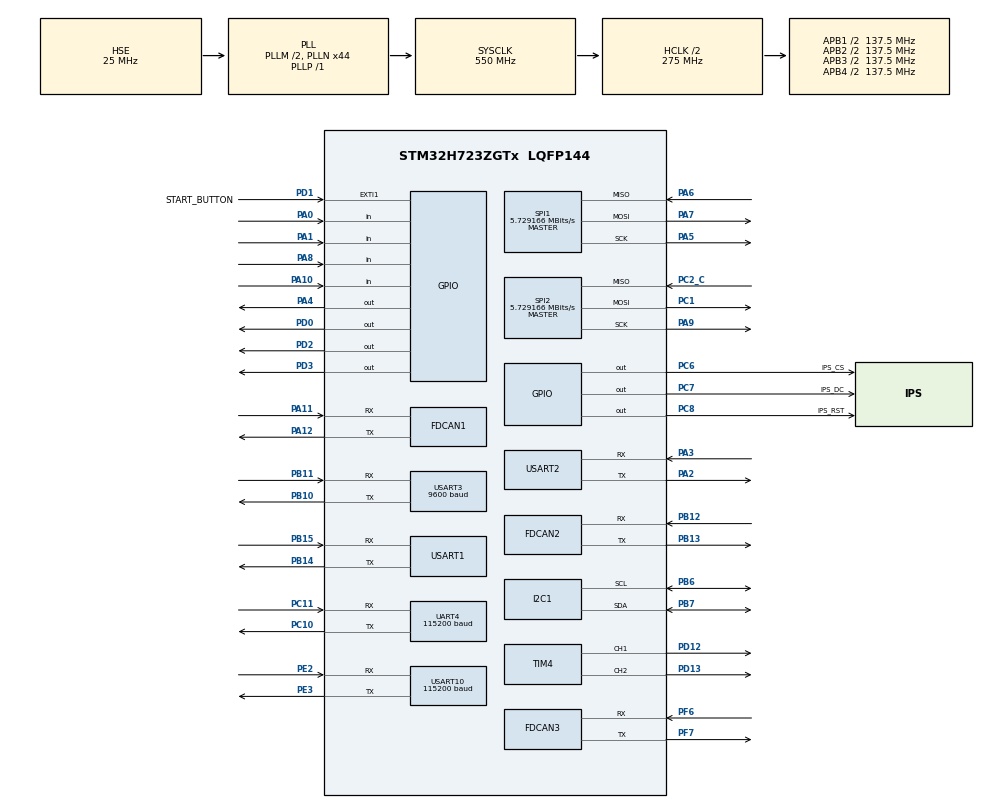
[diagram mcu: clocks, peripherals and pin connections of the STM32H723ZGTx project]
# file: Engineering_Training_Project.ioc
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Dma.Request0=UART4_RX
Dma.Request1=USART1_RX
Dma.Request2=USART2_RX
Dma.Request3=USART10_RX
Dma.Request4=UART4_TX
Dma.UART4_RX.0.Direction=DMA_PERIPH_TO_MEMORY
Dma.UART4_RX.0.EventEnable=DISABLE
Dma.UART4_RX.0.FIFOMode=DMA_FIFOMODE_DISABLE
Dma.UART4_RX.0.Instance=DMA1_Stream0
Dma.UART4_RX.0.MemDataAlignment=DMA_MDATAALIGN_BYTE
Dma.UART4_RX.0.MemInc=DMA_MINC_ENABLE
Dma.UART4_RX.0.Mode=DMA_CIRCULAR
Dma.UART4_RX.0.PeriphDataAlignment=DMA_PDATAALIGN_BYTE
Dma.UART4_RX.0.PeriphInc=DMA_PINC_DISABLE
Dma.UART4_RX.0.Polarity=HAL_DMAMUX_REQ_GEN_RISING
Dma.UART4_RX.0.Priority=DMA_PRIORITY_LOW
Dma.UART4_RX.0.RequestNumber=1
Dma.UART4_RX.0.SignalID=NONE
Dma.UART4_RX.0.SyncEnable=DISABLE
Dma.UART4_RX.0.SyncPolarity=HAL_DMAMUX_SYNC_NO_EVENT
Dma.UART4_RX.0.SyncRequestNumber=1
Dma.UART4_RX.0.SyncSignalID=NONE
Dma.USART10_RX.3.Direction=DMA_PERIPH_TO_MEMORY
Dma.USART10_RX.3.EventEnable=DISABLE
Dma.USART10_RX.3.FIFOMode=DMA_FIFOMODE_DISABLE
Dma.USART10_RX.3.Instance=DMA1_Stream3
Dma.USART10_RX.3.MemDataAlignment=DMA_MDATAALIGN_BYTE
Dma.USART10_RX.3.MemInc=DMA_MINC_ENABLE
Dma.USART10_RX.3.Mode=DMA_CIRCULAR
Dma.USART10_RX.3.PeriphDataAlignment=DMA_PDATAALIGN_BYTE
Dma.USART10_RX.3.PeriphInc=DMA_PINC_DISABLE
Dma.USART10_RX.3.Polarity=HAL_DMAMUX_REQ_GEN_RISING
Dma.USART10_RX.3.Priority=DMA_PRIORITY_MEDIUM
Dma.USART10_RX.3.RequestNumber=1
Dma.USART10_RX.3.SignalID=NONE
Dma.USART10_RX.3.SyncEnable=DISABLE
Dma.USART10_RX.3.SyncPolarity=HAL_DMAMUX_SYNC_NO_EVENT
Dma.USART10_RX.3.SyncRequestNumber=1
Dma.USART10_RX.3.SyncSignalID=NONE
Dma.USART1_RX.1.Direction=DMA_PERIPH_TO_MEMORY
Dma.USART1_RX.1.EventEnable=DISABLE
Dma.USART1_RX.1.FIFOMode=DMA_FIFOMODE_DISABLE
Dma.USART1_RX.1.Instance=DMA1_Stream1
Dma.USART1_RX.1.MemDataAlignment=DMA_MDATAALIGN_BYTE
Dma.USART1_RX.1.MemInc=DMA_MINC_ENABLE
Dma.USART1_RX.1.Mode=DMA_CIRCULAR
Dma.USART1_RX.1.PeriphDataAlignment=DMA_PDATAALIGN_BYTE
Dma.USART1_RX.1.PeriphInc=DMA_PINC_DISABLE
Dma.USART1_RX.1.Polarity=HAL_DMAMUX_REQ_GEN_RISING
Dma.USART1_RX.1.Priority=DMA_PRIORITY_HIGH
Dma.USART1_RX.1.RequestNumber=1
Dma.USART1_RX.1.SignalID=NONE
Dma.USART1_RX.1.SyncEnable=DISABLE
Dma.USART1_RX.1.SyncPolarity=HAL_DMAMUX_SYNC_NO_EVENT
Dma.USART1_RX.1.SyncRequestNumber=1
Dma.USART1_RX.1.SyncSignalID=NONE
Dma.USART2_RX.2.Direction=DMA_PERIPH_TO_MEMORY
Dma.USART2_RX.2.EventEnable=DISABLE
Dma.USART2_RX.2.FIFOMode=DMA_FIFOMODE_DISABLE
Dma.USART2_RX.2.Instance=DMA1_Stream2
Dma.USART2_RX.2.MemDataAlignment=DMA_MDATAALIGN_BYTE
Dma.USART2_RX.2.MemInc=DMA_MINC_ENABLE
Dma.USART2_RX.2.Mode=DMA_CIRCULAR
Dma.USART2_RX.2.PeriphDataAlignment=DMA_PDATAALIGN_BYTE
Dma.USART2_RX.2.PeriphInc=DMA_PINC_DISABLE
Dma.USART2_RX.2.Polarity=HAL_DMAMUX_REQ_GEN_RISING
Dma.USART2_RX.2.Priority=DMA_PRIORITY_HIGH
Dma.USART2_RX.2.RequestNumber=1
Dma.USART2_RX.2.SignalID=NONE
Dma.USART2_RX.2.SyncEnable=DISABLE
Dma.USART2_RX.2.SyncPolarity=HAL_DMAMUX_SYNC_NO_EVENT
Dma.USART2_RX.2.SyncRequestNumber=1
Dma.USART2_RX.2.SyncSignalID=NONE
FDCAN1.DataPrescaler=2
FDCAN1.DataSyncJumpWidth=2
FDCAN1.DataTimeSeg1=11
FDCAN1.DataTimeSeg2=4
FDCAN1.MessageRAMOffset=128
FDCAN1.NominalPrescaler=4
FDCAN1.NominalSyncJumpWidth=2
FDCAN1.NominalTimeSeg1=15
FDCAN1.NominalTimeSeg2=4
FDCAN1.ProtocolException=ENABLE
FDCAN1.RxFifo0ElmtsNbr=8
FDCAN1.StdFiltersNbr=1
FDCAN2.CalculateBaudRateNominal=500000
FDCAN2.CalculateTimeBitNominal=2000
FDCAN2.CalculateTimeQuantumNominal=100.0
FDCAN2.NominalPrescaler=8
FDCAN2.NominalSyncJumpWidth=2
FDCAN2.NominalTimeSeg1=15
FDCAN2.NominalTimeSeg2=4
FDCAN2.RxFifo0ElmtsNbr=16
FDCAN2.TxFifoQueueElmtsNbr=8
FREERTOS.Tasks01=defaultTask,24,512,StartDefaultTask,Default,NULL,Dynamic,NULL,NULL
FREERTOS.configCHECK_FOR_STACK_OVERFLOW=2
FREERTOS.configTOTAL_HEAP_SIZE=131072
I2C1.Timing=0x60404E72
Mcu.Family=STM32H7
Mcu.Name=STM32H723ZGTx
Mcu.Package=LQFP144
NVIC.DMA1_Stream0_IRQn=true\:5\:0\:false\:false\:true\:true\:false\:true\:true
NVIC.DMA1_Stream1_IRQn=true\:5\:0\:false\:false\:true\:true\:false\:true\:true
NVIC.DMA1_Stream2_IRQn=true\:5\:0\:false\:false\:true\:true\:false\:true\:true
NVIC.DMA1_Stream3_IRQn=true\:5\:0\:false\:false\:true\:true\:false\:true\:true
NVIC.EXTI1_IRQn=true\:5\:0\:false\:false\:true\:true\:true\:true\:true
NVIC.FDCAN1_IT0_IRQn=true\:5\:0\:false\:false\:true\:true\:true\:true\:true
NVIC.FDCAN2_IT0_IRQn=true\:5\:0\:false\:false\:true\:true\:true\:true\:true
NVIC.PriorityGroup=NVIC_PRIORITYGROUP_4
NVIC.TIM7_IRQn=true\:0\:0\:false\:false\:true\:false\:false\:true\:true
NVIC.TimeBase=TIM7_IRQn
NVIC.TimeBaseIP=TIM7
NVIC.UART4_IRQn=true\:5\:0\:false\:false\:true\:true\:true\:true\:true
NVIC.USART10_IRQn=true\:5\:0\:true\:false\:true\:false\:true\:true\:true
NVIC.USART1_IRQn=true\:5\:0\:false\:false\:true\:true\:true\:true\:true
NVIC.USART2_IRQn=true\:5\:0\:false\:false\:true\:true\:true\:true\:true
NVIC.USART3_IRQn=true\:5\:0\:false\:false\:true\:true\:true\:true\:true
PA0.GPIO_PuPd=GPIO_PULLUP
PA0.Signal=GPIO_Input
PA1.GPIO_PuPd=GPIO_PULLUP
PA1.Signal=GPIO_Input
PA10.GPIO_PuPd=GPIO_PULLUP
PA10.Signal=GPIO_Input
PA11.Mode=FDCAN_Activate
PA11.Signal=FDCAN1_RX
PA12.Mode=FDCAN_Activate
PA12.Signal=FDCAN1_TX
PA13(JTMS/SWDIO).Mode=Serial_Wire
PA13(JTMS/SWDIO).Signal=DEBUG_JTMS-SWDIO
PA14(JTCK/SWCLK).Mode=Serial_Wire
PA14(JTCK/SWCLK).Signal=DEBUG_JTCK-SWCLK
PA2.Mode=Asynchronous
PA2.Signal=USART2_TX
PA3.Mode=Asynchronous
PA3.Signal=USART2_RX
PA4.PinState=GPIO_PIN_SET
PA4.Signal=GPIO_Output
PA5.Mode=Full_Duplex_Master
PA5.Signal=SPI1_SCK
PA6.Mode=Full_Duplex_Master
PA6.Signal=SPI1_MISO
PA7.Mode=Full_Duplex_Master
PA7.Signal=SPI1_MOSI
PA8.GPIO_PuPd=GPIO_PULLUP
PA8.Signal=GPIO_Input
PA9.Mode=Full_Duplex_Master
PA9.Signal=SPI2_SCK
PB10.Mode=Asynchronous
PB10.Signal=USART3_TX
PB11.Mode=Asynchronous
PB11.Signal=USART3_RX
PB12.Mode=FDCAN_Activate
PB12.Signal=FDCAN2_RX
PB13.Mode=FDCAN_Activate
PB13.Signal=FDCAN2_TX
PB14.Mode=Asynchronous
PB14.Signal=USART1_TX
PB15.Mode=Asynchronous
PB15.Signal=USART1_RX
PB6.Mode=I2C
PB6.Signal=I2C1_SCL
PB7.Mode=I2C
PB7.Signal=I2C1_SDA
PC1.Mode=Full_Duplex_Master
PC1.Signal=SPI2_MOSI
PC10.Mode=Asynchronous
PC10.Signal=UART4_TX
PC11.Mode=Asynchronous
PC11.Signal=UART4_RX
PC2_C.Mode=Full_Duplex_Master
PC2_C.Signal=SPI2_MISO
PC6.GPIO_Label=IPS_CS
PC6.PinState=GPIO_PIN_SET
PC6.Signal=GPIO_Output
PC7.GPIO_Label=IPS_DC
PC7.PinState=GPIO_PIN_SET
PC7.Signal=GPIO_Output
PC8.GPIO_Label=IPS_RST
PC8.PinState=GPIO_PIN_SET
PC8.Signal=GPIO_Output
PD0.Signal=GPIO_Output
PD1.GPIO_Label=START_BUTTON
PD1.GPIO_PuPd=GPIO_PULLUP
PD1.GPIO_ModeDefaultEXTI=GPIO_MODE_IT_RISING_FALLING
PD1.Signal=GPXTI1
PD12.Signal=S_TIM4_CH1
PD13.Signal=S_TIM4_CH2
PD2.Signal=GPIO_Output
PD3.Signal=GPIO_Output
PE2.Mode=Asynchronous
PE2.Signal=USART10_RX
PE3.Mode=Asynchronous
PE3.Signal=USART10_TX
PF6.Mode=FDCAN_Activate
PF6.Signal=FDCAN3_RX
PF7.Mode=FDCAN_Activate
PF7.Signal=FDCAN3_TX
PH0-OSC_IN.Mode=HSE-External-Oscillator
PH0-OSC_IN.Signal=RCC_OSC_IN
PH1-OSC_OUT.Mode=HSE-External-Oscillator
PH1-OSC_OUT.Signal=RCC_OSC_OUT
ProjectManager.HeapSize=0x200
ProjectManager.StackSize=0x400
ProjectManager.TargetToolchain=MDK-ARM V5.27
RCC.ADCFreq_Value=160000000
RCC.APB1Freq_Value=137500000
RCC.APB2Freq_Value=137500000
RCC.APB3Freq_Value=137500000
RCC.APB4Freq_Value=137500000
RCC.CortexFreq_Value=550000000
RCC.D1PPRE=RCC_APB3_DIV2
RCC.D2PPRE1=RCC_APB1_DIV2
RCC.D2PPRE2=RCC_APB2_DIV2
RCC.D3PPRE=RCC_APB4_DIV2
RCC.DIVM1=2
RCC.DIVM2=5
RCC.DIVN1=44
RCC.DIVN2=64
RCC.DIVP1=1
RCC.DIVP2=2
RCC.DIVQ1=3
RCC.DIVQ2=4
RCC.DIVR2=2
RCC.FDCANCLockSelection=RCC_FDCANCLKSOURCE_PLL2
RCC.HCLKFreq_Value=275000000
RCC.HPRE=RCC_HCLK_DIV2
RCC.PLL2FRACN=0
RCC.PLL3FRACN=0
RCC.PLLFRACN=0
RCC.PLLSourceVirtual=RCC_PLLSOURCE_HSE
RCC.SYSCLKFreq_VALUE=550000000
RCC.SYSCLKSource=RCC_SYSCLKSOURCE_PLLCLK
RCC.USBFreq_Value=183333333.33333334
SH.S_TIM4_CH1.0=TIM4_CH1,PWM Generation1 CH1
SH.S_TIM4_CH2.0=TIM4_CH2,PWM Generation2 CH2
SPI1.BaudRatePrescaler=SPI_BAUDRATEPRESCALER_32
SPI1.CalculateBaudRate=5.729166 MBits/s
SPI1.DataSize=SPI_DATASIZE_8BIT
SPI1.Direction=SPI_DIRECTION_2LINES
SPI1.Mode=SPI_MODE_MASTER
SPI1.VirtualType=VM_MASTER
SPI2.BaudRatePrescaler=SPI_BAUDRATEPRESCALER_32
SPI2.CalculateBaudRate=5.729166 MBits/s
SPI2.DataSize=SPI_DATASIZE_8BIT
SPI2.Direction=SPI_DIRECTION_2LINES
SPI2.Mode=SPI_MODE_MASTER
SPI2.VirtualType=VM_MASTER
TIM4.Channel-PWM\ Generation1\ CH1=TIM_CHANNEL_1
TIM4.Channel-PWM\ Generation2\ CH2=TIM_CHANNEL_2
UART4.BaudRate=115200
UART4.VirtualMode-Asynchronous=VM_ASYNC
USART1.VirtualMode-Asynchronous=VM_ASYNC
USART10.BaudRate=115200
USART10.FIFOMode=FIFOMODE_ENABLE
USART10.VirtualMode=VM_ASYNC
USART10.VirtualMode-Asynchronous=VM_ASYNC
USART2.VirtualMode-Asynchronous=VM_ASYNC
USART3.BaudRate=9600
USART3.VirtualMode-Asynchronous=VM_ASYNC
VP_FREERTOS_VS_CMSIS_V2.Mode=CMSIS_V2
VP_SYS_VS_tim7.Mode=TIM7
board=custom
Dma.UART4_TX.4.Instance=DMA1_Stream4
Dma.UART4_TX.4.Direction=DMA_MEMORY_TO_PERIPH
Dma.UART4_TX.4.Mode=DMA_NORMAL
Dma.UART4_TX.4.Priority=DMA_PRIORITY_LOW
Dma.UART4_TX.4.PeriphInc=DMA_PINC_DISABLE
Dma.UART4_TX.4.MemInc=DMA_MINC_ENABLE
Dma.UART4_TX.4.PeriphDataAlignment=DMA_PDATAALIGN_BYTE
Dma.UART4_TX.4.MemDataAlignment=DMA_MDATAALIGN_BYTE
Dma.UART4_TX.4.FIFOMode=DMA_FIFOMODE_DISABLE
Dma.UART4_TX.4.SyncEnable=DISABLE
Dma.UART4_TX.4.EventEnable=DISABLE
Dma.UART4_TX.4.RequestNumber=1
Dma.UART4_TX.4.SyncRequestNumber=1
Dma.UART4_TX.4.SyncSignalID=NONE
Dma.UART4_TX.4.SignalID=NONE
Dma.UART4_TX.4.SyncPolarity=HAL_DMAMUX_SYNC_NO_EVENT
Dma.UART4_TX.4.Polarity=HAL_DMAMUX_REQ_GEN_RISING
NVIC.DMA1_Stream4_IRQn=true\:5\:0\:false\:false\:true\:false\:true\:true\:true

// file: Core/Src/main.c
/* USER CODE BEGIN Header */
/**
  ******************************************************************************
  * @file           : main.c
  * @brief          : Main program body
  ******************************************************************************
  * @attention
  *
  * <h2><center>&copy; Copyright (c) 2026 STMicroelectronics.
  * All rights reserved.</center></h2>
  *
  * This software component is licensed by ST under Ultimate Liberty license
  * SLA0044, the "License"; You may not use this file except in compliance with
  * the License. You may obtain a copy of the License at:
  *                             www.st.com/SLA0044
  *
  ******************************************************************************
  */
/* USER CODE END Header */
#include "main.h"
#include "cmsis_os.h"
#include "dma.h"
#include "fdcan.h"
#include "i2c.h"
#include "spi.h"
#include "tim.h"
#include "usart.h"
#include "gpio.h"

/* USER CODE BEGIN Includes */
#include <stdio.h>
#include <string.h>
#include "vision.h"
#include "dm_motor.h"
#include "zdt_motor.h"
/* USER CODE END Includes */

/* USER CODE BEGIN PV */
volatile uint32_t g_boot_stage;
volatile uint32_t g_boot_error;

/* HWT101 serial data is written in the USART10 interrupt callback. */
static volatile uint8_t hwt101_frame[11];
static volatile uint8_t hwt101_frame_pos;
static volatile float hwt101_yaw_deg;
static volatile float hwt101_gyro_z_dps;
static volatile uint32_t hwt101_sample_count;
static volatile uint32_t hwt101_rx_error_count;
/* 零漂基准在收到若干帧姿态后建立，之后累计 Yaw 相对基准的变化量。 */
static volatile uint8_t hwt101_drift_ready;
static volatile float hwt101_yaw_baseline_deg;
static volatile float hwt101_yaw_previous_deg;
static volatile float hwt101_zero_drift_deg;
/* 静止标定窗口的累加器与角速度零偏 */
static volatile uint8_t hwt101_calib_active;
static volatile uint32_t hwt101_calib_start_tick;
static volatile uint32_t hwt101_calib_count;
static volatile double hwt101_calib_yaw_sum;
static volatile double hwt101_calib_gyro_sum;
static volatile float hwt101_gyro_bias_dps;
/* 标定完成后的打印交给任务上下文（ZDT_Motor_Poll）做：
   0x53 是在 UART 空闲中断回调里解析的，在 ISR 里阻塞发 60 字符会拖住接收重挂。 */
static volatile uint8_t hwt101_calib_report_pending;
static volatile uint32_t hwt101_calib_report_samples;
static volatile uint32_t hwt101_calib_report_ms;
static volatile uint8_t hwt101_calib_reported;
/* 标定完成时刻（给屏幕显示"去零漂完成"用；0 = 还没完成过） */
static volatile uint32_t hwt101_zero_ready_tick;
/* 窗口内 yaw 的极值，用于"静止度"检查（见 HWT101_CALIB_MAX_SPAN_DEG） */
static volatile float hwt101_calib_yaw_min;
static volatile float hwt101_calib_yaw_max;

/* HWT101 上电自动零漂标定：
 *   只有在"车真的静止"时才建立基准，并且用一段时间的**平均值**做基准与角速度零偏，
 *   避免上电瞬间被人手拿着/车在动导致基准错掉。
 *   判据：① 角速度 |gz| ≤ HWT101_CALIB_MAX_RATE_DPS 连续保持 ≥ HWT101_CALIB_MS 毫秒；
 *         ② 窗口内 yaw 极差 ≤ HWT101_CALIB_MAX_SPAN_DEG（长时间窗口下，光看瞬时角速度
 *            挡不住"慢慢转"或"被人轻轻挪"）；
 *         ③ 样本数 ≥ HWT101_CALIB_MIN_SAMPLES。
 *   任一条不满足就重新开始计时，所以上电后不动它 ~3 s 就会自己完成。 */
#define HWT101_CALIB_MAX_RATE_DPS       (1.5f)
#define HWT101_CALIB_MS                 (3000U)
#define HWT101_CALIB_MAX_SPAN_DEG       (0.50f)
#define HWT101_CALIB_MIN_SAMPLES        (20U)

/* USER CODE END PV */

void SystemClock_Config(void);
void MX_FREERTOS_Init(void);
/* USER CODE BEGIN PFP */

void HWT101_OnDmaData(const uint8_t *data, uint16_t len);

/* USER CODE END PFP */

/* USER CODE BEGIN 0 */

static int16_t HWT101_ReadLeInt16(const volatile uint8_t *data)
{
  return (int16_t)((uint16_t)data[0] | ((uint16_t)data[1] << 8));
}

static float HWT101_WrapAngleDeltaDeg(float delta_deg)
{
  /* 将 Yaw 跨越 +/-180 度的角度差折回到 (-180,180]，保证累计量连续。 */
  while (delta_deg > 180.0F)
  {
    delta_deg -= 360.0F;
  }

  while (delta_deg <= -180.0F)
  {
    delta_deg += 360.0F;
  }

  return delta_deg;
}

static void HWT101_ProcessByte(uint8_t data)
{
  uint8_t checksum = 0U;
  uint8_t index;

  if (hwt101_frame_pos == 0U)
  {
    if (data == 0x55U)
    {
      hwt101_frame[0] = data;
      hwt101_frame_pos = 1U;
    }
    return;
  }

  hwt101_frame[hwt101_frame_pos++] = data;
  if (hwt101_frame_pos < sizeof(hwt101_frame))
  {
    return;
  }

  for (index = 0U; index < 10U; index++)
  {
    checksum = (uint8_t)(checksum + hwt101_frame[index]);
  }

  if (checksum == hwt101_frame[10])
  {
    if (hwt101_frame[1] == 0x52U)
    {
      hwt101_gyro_z_dps = ((float)HWT101_ReadLeInt16(&hwt101_frame[6]) * 2000.0F) / 32768.0F;
    }
    else if (hwt101_frame[1] == 0x53U)
    {
      float yaw_raw_deg = ((float)HWT101_ReadLeInt16(&hwt101_frame[6]) * 180.0F) / 32768.0F;
      float rate_dps = hwt101_gyro_z_dps;   /* 最近一帧 0x52 的角速度 */

      hwt101_yaw_deg = yaw_raw_deg;
      hwt101_sample_count++;

      if (hwt101_drift_ready == 0U)
      {
        /* ---- 上电自动零漂：静止窗口内取平均做基准与角速度零偏 ---- */
        uint8_t restart = 0U;

        if ((rate_dps > HWT101_CALIB_MAX_RATE_DPS) ||
            (rate_dps < -HWT101_CALIB_MAX_RATE_DPS))
        {
          /* 瞬时角速度超标：说明还在动 */
          restart = 1U;
        }
        else if ((hwt101_calib_active != 0U) &&
                 (((yaw_raw_deg - hwt101_calib_yaw_min) >
                   HWT101_CALIB_MAX_SPAN_DEG) ||
                  ((hwt101_calib_yaw_max - yaw_raw_deg) >
                   HWT101_CALIB_MAX_SPAN_DEG)))
        {
          /* 窗口内 yaw 晃超了：3 s 的窗口很长，光看瞬时角速度挡不住"慢慢转/被人轻挪" */
          restart = 1U;
        }
        else
        {
          /* 通过检查：继续累加 */
        }

        if (restart != 0U)
        {
          /* 丢弃窗口，重新开始计时（说明还没静下来） */
          hwt101_calib_active = 0U;
          hwt101_calib_count = 0U;
          hwt101_calib_yaw_sum = 0.0;
          hwt101_calib_gyro_sum = 0.0;
        }
        else
        {
          if (hwt101_calib_active == 0U)
          {
            hwt101_calib_active = 1U;
            hwt101_calib_start_tick = HAL_GetTick();
            hwt101_calib_count = 0U;
            hwt101_calib_yaw_sum = 0.0;
            hwt101_calib_gyro_sum = 0.0;
            hwt101_calib_yaw_min = yaw_raw_deg;
            hwt101_calib_yaw_max = yaw_raw_deg;
          }
          if (yaw_raw_deg < hwt101_calib_yaw_min)
          {
            hwt101_calib_yaw_min = yaw_raw_deg;
          }
          if (yaw_raw_deg > hwt101_calib_yaw_max)
          {
            hwt101_calib_yaw_max = yaw_raw_deg;
          }
          hwt101_calib_count++;
          hwt101_calib_yaw_sum += (double)yaw_raw_deg;
          hwt101_calib_gyro_sum += (double)rate_dps;

          if ((hwt101_calib_count >= (uint32_t)HWT101_CALIB_MIN_SAMPLES) &&
              ((HAL_GetTick() - hwt101_calib_start_tick) >= HWT101_CALIB_MS))
          {
            double count = (double)hwt101_calib_count;
            float yaw_avg = (float)(hwt101_calib_yaw_sum / count);

            hwt101_gyro_bias_dps =
                (float)(hwt101_calib_gyro_sum / count);   /* 角速度零偏 */
            hwt101_yaw_baseline_deg = yaw_avg;            /* 朝向基准 */
            hwt101_yaw_previous_deg = yaw_raw_deg;
            hwt101_zero_drift_deg = 0.0F;
            hwt101_drift_ready = 1U;
            hwt101_calib_active = 0U;
            hwt101_zero_ready_tick = HAL_GetTick();

            if (hwt101_calib_reported == 0U)
            {
              /* 只置标志，实际打印在任务上下文（HWT101_PollReport）里做 */
              hwt101_calib_report_samples = hwt101_calib_count;
              hwt101_calib_report_ms = HAL_GetTick() - hwt101_calib_start_tick;
              hwt101_calib_report_pending = 1U;
              hwt101_calib_reported = 1U;
            }
          }
        }
      }
      else
      {
        float delta_deg = HWT101_WrapAngleDeltaDeg(yaw_raw_deg -
                                                   hwt101_yaw_previous_deg);

        hwt101_zero_drift_deg += delta_deg;
        hwt101_yaw_previous_deg = yaw_raw_deg;
      }
    }
  }

  hwt101_frame_pos = 0U;
}

/**
  * @brief  USART10 DMA ring buffer data entry (called by vision.c RxEventCallback)
  */
void HWT101_OnDmaData(const uint8_t *data, uint16_t len)
{
  uint16_t index;

  for (index = 0U; index < len; index++)
  {
    HWT101_ProcessByte(data[index]);
  }
}

/* 其他任务通过只读接口获取姿态数据，避免直接访问 main.c 私有变量。 */
float HWT101_GetYawDeg(void)
{
  return (float)hwt101_yaw_deg;
}

float HWT101_GetGyroZDps(void)
{
  /* Keep the sampled value raw so the calibration window above averages the
     uncorrected rate. Apply the measured bias exactly once at this public
     interface; while a new calibration is in progress, do not reuse the
     previous window's bias. */
  float raw_dps = (float)hwt101_gyro_z_dps;
  float bias_dps = (hwt101_drift_ready != 0U) ?
                   (float)hwt101_gyro_bias_dps : 0.0F;

  return raw_dps - bias_dps;
}

uint32_t HWT101_GetSampleCount(void)
{
  return (uint32_t)hwt101_sample_count;
}

uint32_t HWT101_GetErrorCount(void)
{
  return (uint32_t)hwt101_rx_error_count;
}

float HWT101_GetZeroDriftDeg(void)
{
  return (float)hwt101_zero_drift_deg;
}

uint8_t HWT101_IsZeroDriftReady(void)
{
  return (uint8_t)hwt101_drift_ready;
}

/* 标定完成时刻（ms，0 = 还没完成过）；屏幕用它显示几秒钟的"去零漂完成"。 */
uint32_t HWT101_GetZeroDriftReadyTick(void)
{
  return (uint32_t)hwt101_zero_ready_tick;
}

/* 当前静止窗口已累计的毫秒数（窗口被"车在动"打断会归零）；屏幕用它显示倒计时。 */
uint32_t HWT101_GetCalibElapsedMs(void)
{
  if (hwt101_calib_active == 0U)
  {
    return 0U;
  }
  return (uint32_t)(HAL_GetTick() - hwt101_calib_start_tick);
}

/* 上电自动标定得到的角速度零偏（dps），HWT101_GetGyroZDps 已把它减掉。 */
float HWT101_GetGyroBiasDps(void)
{
  return (float)hwt101_gyro_bias_dps;
}

/* 零漂标定是否正在进行（=1 时别动车，否则标定会被重新计时）。 */
uint8_t HWT101_IsCalibrating(void)
{
  return (uint8_t)hwt101_calib_active;
}

/* 任务上下文里调用（ZDT_Motor_Poll）：把"标定完成"那一行打出去。
 * 放这里而不是放在 UART 空闲中断回调里，避免 ISR 里阻塞发串口。 */
void HWT101_PollReport(void)
{
  char line[128];

  if (hwt101_calib_report_pending == 0U)
  {
    return;
  }
  hwt101_calib_report_pending = 0U;

  (void)snprintf(line, sizeof(line),
                 "[IMU] zero-drift ready: %lu samples/%lums, gyro bias %+.3f dps\r\n",
                 (unsigned long)hwt101_calib_report_samples,
                 (unsigned long)hwt101_calib_report_ms,
                 (double)hwt101_gyro_bias_dps);
  ZDT_Console_Print(line);
}

/**
  * @brief  重新建立零漂基准：把当前朝向当作 0°。
  * @note   用于"上电后才把车摆到起点、朝向和上电时不一致"的现场情况。
  *         调用后必须**静止不动约 3 s**（HWT101_CALIB_MS），窗口满足后才会建立
  *         新基准并打印 [IMU] zero-drift ready（同时重新估计角速度零偏）。
  *         这 3 s 内屏幕会显示 `IMU CALIBRATING`，完成后显示 `IMU CAL DONE`。
  */
void HWT101_ResetZeroDrift(void)
{
  hwt101_drift_ready = 0U;
  hwt101_sample_count = 0U;
  hwt101_zero_drift_deg = 0.0F;
  hwt101_yaw_baseline_deg = 0.0F;
  hwt101_yaw_previous_deg = 0.0F;
  hwt101_calib_active = 0U;
  hwt101_calib_count = 0U;
  hwt101_calib_yaw_sum = 0.0;
  hwt101_calib_gyro_sum = 0.0;
  hwt101_calib_yaw_min = 0.0F;
  hwt101_calib_yaw_max = 0.0F;
  hwt101_calib_reported = 0U;
  hwt101_zero_ready_tick = 0U;
}

/* USER CODE END 0 */

int main(void)
{

  /* MCU Configuration--------------------------------------------------------*/

  /* Reset of all peripherals, Initializes the Flash interface and the Systick. */
  HAL_Init();

  /* Configure the system clock */
  SystemClock_Config();

  /* Initialize all configured peripherals */
  MX_GPIO_Init();
  MX_DMA_Init();
  MX_FDCAN1_Init();
  MX_FDCAN2_Init();
  MX_FDCAN3_Init();
  MX_I2C1_Init();
  MX_SPI1_Init();
  MX_TIM4_Init();
  MX_UART4_Init();
  MX_USART1_UART_Init();
  MX_USART2_UART_Init();
  MX_USART3_UART_Init();
  MX_USART10_UART_Init();
  MX_SPI2_Init();
  /* USER CODE BEGIN 2 */

  Vision_Init();
  g_boot_stage = 13U;
  /* 达妙转盘电机（FDCAN1）的总线初始化已移到 MX_FREERTOS_Init() 里的
   * ArmTask_Init()：那里紧挨着任务创建，配置来源单一（arm_task.c 里的 dm_config_t），
   * 不再出现"main.c 传一套 ID、驱动里硬编码另一套"的分叉。
   * 2026-09-14 之前这里写的是 DM_Motor_Init(0x05U, 0x00U, DM_MIT_MODE)，
   * 而那三个参数在驱动里被 (void) 丢弃、实际按 0x01/0x11/POS 发帧 —— 已修。 */

  /* USER CODE END 2 */

  /* Init scheduler */
  osKernelInitialize();  /* Call init function for freertos objects (in freertos.c) */
  MX_FREERTOS_Init();
  /* Start scheduler */
  osKernelStart();

  /* We should never get here as control is now taken by the scheduler */
  /* Infinite loop */
  while (1)
  {

  }
}

void SystemClock_Config(void)
{
  RCC_OscInitTypeDef RCC_OscInitStruct = {0};
  RCC_ClkInitTypeDef RCC_ClkInitStruct = {0};
  RCC_PeriphCLKInitTypeDef PeriphClkInitStruct = {0};

  /** Supply configuration update enable
  */
  HAL_PWREx_ConfigSupply(PWR_LDO_SUPPLY);
  /** Configure the main internal regulator output voltage
  */
  __HAL_PWR_VOLTAGESCALING_CONFIG(PWR_REGULATOR_VOLTAGE_SCALE0);

  while(!__HAL_PWR_GET_FLAG(PWR_FLAG_VOSRDY)) {}
  /** Macro to configure the PLL clock source
  */
  __HAL_RCC_PLL_PLLSOURCE_CONFIG(RCC_PLLSOURCE_HSE);
  /** Initializes the RCC Oscillators according to the specified parameters
  * in the RCC_OscInitTypeDef structure.
  */
  RCC_OscInitStruct.OscillatorType = RCC_OSCILLATORTYPE_HSE;
  RCC_OscInitStruct.HSEState = RCC_HSE_ON;
  RCC_OscInitStruct.PLL.PLLState = RCC_PLL_ON;
  RCC_OscInitStruct.PLL.PLLSource = RCC_PLLSOURCE_HSE;
  RCC_OscInitStruct.PLL.PLLM = 2;
  RCC_OscInitStruct.PLL.PLLN = 44;
  RCC_OscInitStruct.PLL.PLLP = 1;
  RCC_OscInitStruct.PLL.PLLQ = 3;
  RCC_OscInitStruct.PLL.PLLR = 2;
  RCC_OscInitStruct.PLL.PLLRGE = RCC_PLL1VCIRANGE_3;
  RCC_OscInitStruct.PLL.PLLVCOSEL = RCC_PLL1VCOWIDE;
  RCC_OscInitStruct.PLL.PLLFRACN = 0;
  if (HAL_RCC_OscConfig(&RCC_OscInitStruct) != HAL_OK)
  {
    Error_Handler();
  }
  /** Initializes the CPU, AHB and APB buses clocks
  */
  RCC_ClkInitStruct.ClockType = RCC_CLOCKTYPE_HCLK|RCC_CLOCKTYPE_SYSCLK
                              |RCC_CLOCKTYPE_PCLK1|RCC_CLOCKTYPE_PCLK2
                              |RCC_CLOCKTYPE_D3PCLK1|RCC_CLOCKTYPE_D1PCLK1;
  RCC_ClkInitStruct.SYSCLKSource = RCC_SYSCLKSOURCE_PLLCLK;
  RCC_ClkInitStruct.SYSCLKDivider = RCC_SYSCLK_DIV1;
  RCC_ClkInitStruct.AHBCLKDivider = RCC_HCLK_DIV2;
  RCC_ClkInitStruct.APB3CLKDivider = RCC_APB3_DIV2;
  RCC_ClkInitStruct.APB1CLKDivider = RCC_APB1_DIV2;
  RCC_ClkInitStruct.APB2CLKDivider = RCC_APB2_DIV2;
  RCC_ClkInitStruct.APB4CLKDivider = RCC_APB4_DIV2;

  if (HAL_RCC_ClockConfig(&RCC_ClkInitStruct, FLASH_LATENCY_3) != HAL_OK)
  {
    Error_Handler();
  }
  PeriphClkInitStruct.PeriphClockSelection = RCC_PERIPHCLK_USART3|RCC_PERIPHCLK_USART2
                              |RCC_PERIPHCLK_UART4|RCC_PERIPHCLK_FDCAN
                              |RCC_PERIPHCLK_USART1|RCC_PERIPHCLK_SPI1
                              |RCC_PERIPHCLK_SPI2|RCC_PERIPHCLK_I2C1;
  PeriphClkInitStruct.PLL2.PLL2M = 5;
  PeriphClkInitStruct.PLL2.PLL2N = 64;
  PeriphClkInitStruct.PLL2.PLL2P = 2;
  PeriphClkInitStruct.PLL2.PLL2Q = 4;
  PeriphClkInitStruct.PLL2.PLL2R = 2;
  PeriphClkInitStruct.PLL2.PLL2RGE = RCC_PLL2VCIRANGE_2;
  PeriphClkInitStruct.PLL2.PLL2VCOSEL = RCC_PLL2VCOWIDE;
  PeriphClkInitStruct.PLL2.PLL2FRACN = 0;
  PeriphClkInitStruct.Spi123ClockSelection = RCC_SPI123CLKSOURCE_PLL;
  PeriphClkInitStruct.FdcanClockSelection = RCC_FDCANCLKSOURCE_PLL2;
  PeriphClkInitStruct.Usart234578ClockSelection = RCC_USART234578CLKSOURCE_D2PCLK1;
  PeriphClkInitStruct.Usart16ClockSelection = RCC_USART16910CLKSOURCE_D2PCLK2;
  PeriphClkInitStruct.I2c1235ClockSelection = RCC_I2C1235CLKSOURCE_D2PCLK1;
  if (HAL_RCCEx_PeriphCLKConfig(&PeriphClkInitStruct) != HAL_OK)
  {
    Error_Handler();
  }
}

 /**
  * @brief  Period elapsed callback in non blocking mode
  * @note   This function is called  when TIM7 interrupt took place, inside
  * HAL_TIM_IRQHandler(). It makes a direct call to HAL_IncTick() to increment
  * a global variable "uwTick" used as application time base.
  * @param  htim : TIM handle
  * @retval None
  */
void HAL_TIM_PeriodElapsedCallback(TIM_HandleTypeDef *htim)
{
  if (htim->Instance == TIM7) {
    HAL_IncTick();
  }
}

void Error_Handler(void)
{
  /* USER CODE BEGIN Error_Handler_Debug */
  if (g_boot_error == 0U)
  {
    g_boot_error = 1U;
  }
  /* User can add his own implementation to report the HAL error return state */
  __disable_irq();
  while (1)
  {
  }
  /* USER CODE END Error_Handler_Debug */
}

/************************ (C) COPYRIGHT STMicroelectronics *****END OF FILE****/

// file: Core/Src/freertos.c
/* USER CODE BEGIN Header */
/**
  ******************************************************************************
  * File Name          : freertos.c
  * Description        : Code for freertos applications
  ******************************************************************************
  * @attention
  *
  * <h2><center>&copy; Copyright (c) 2026 STMicroelectronics.
  * All rights reserved.</center></h2>
  *
  * This software component is licensed by ST under Ultimate Liberty license
  * SLA0044, the "License"; You may not use this file except in compliance with
  * the License. You may obtain a copy of the License at:
  *                             www.st.com/SLA0044
  *
  ******************************************************************************
  */
/* USER CODE END Header */

#include "FreeRTOS.h"
#include "task.h"
#include "main.h"
#include "cmsis_os.h"

/* USER CODE BEGIN Includes */

#include "zdt_motor.h"
#include "grid_nav.h"
#include "chassis_motor.h"
#include "arm_task.h"
#include "ips200.h"
#include "vision.h"
#include "screen_hmi.h"
#include "console_dma.h"
#include <stdio.h>
#include <string.h>

/* USER CODE END Includes */

/* USER CODE BEGIN PD */
#define IPS200_TELEMETRY_ENABLE (1U)

/* USER CODE END PD */

/* USER CODE BEGIN Variables */
volatile uintptr_t g_overflow_task;
volatile char g_overflow_task_name[configMAX_TASK_NAME_LEN];

osThreadId_t zdtMotorTaskHandle;
const osThreadAttr_t zdtMotorTask_attributes = {
  .name = "zdtMotorTask",
  .priority = (osPriority_t) osPriorityNormal,
  .stack_size = 2048 * 4
};

/* 机械臂任务（2026-09-14 新增）。
 *
 * 周期 10 ms / 优先级 Normal3（比 defaultTask 高、比 zdtMotorTask 低），
 * 与《FreeRTOS任务安排与设计》里 ActuatorTask 的定位一致。
 * 栈 2048 B：任务体只做 DM_Motor_Service + 一条 snprintf，
 * 但 dm_motor 的 `dm status` / `dm probe` 会走 192 字节的局部缓冲和
 * snprintf（ARMCC 下浮点格式化栈开销较大），所以按设计文档的 1536 B 上浮一档。
 * 首版跑起来后用 uxTaskGetStackHighWaterMark() 复核。 */
osThreadId_t armTaskHandle;
osThreadId_t visionTaskHandle;
static osThreadId_t screenTaskHandle;
static osThreadId_t consoleTaskHandle;
static const osThreadAttr_t consoleTask_attributes={.name="consoleDMA",.priority=osPriorityBelowNormal2,.stack_size=1024U};
static const osThreadAttr_t screenTask_attributes={.name="screenTask",.priority=osPriorityBelowNormal,.stack_size=1536U};
const osThreadAttr_t visionTask_attributes = {
  .name = "visionTask",
  .priority = (osPriority_t) osPriorityNormal1,
  .stack_size = 2048
};
const osThreadAttr_t armTask_attributes = {
  .name = "armTask",
  .priority = (osPriority_t) osPriorityNormal3,
  .stack_size = 4096
};

/* USER CODE END Variables */
/* Definitions for defaultTask */
osThreadId_t defaultTaskHandle;
const osThreadAttr_t defaultTask_attributes = {
  .name = "defaultTask",
  .priority = (osPriority_t) osPriorityBelowNormal,
  .stack_size = 2048 * 4
};

/* USER CODE BEGIN FunctionPrototypes */

#if (IPS200_TELEMETRY_ENABLE != 0U)
/* 左侧 128x128 像素地图区域，右侧保留原有 PID/速度信息。 */
#define IPS_MAP_X             (6U)
#define IPS_MAP_Y             (28U)
#define IPS_MAP_CELL          (16U)
#define IPS_MAP_PIXELS        (GRID_NAV_SIZE * IPS_MAP_CELL)
#define IPS_TELEMETRY_X       (150U)
/* 顶部右侧零漂标定状态的起点（x=180 起约 23 字符可用：320-180=140px / 6px） */
#define IPS_IMU_STATE_X       (180U)
static void ChassisTelemetry_Show(void);
static void Dashboard_DrawMap(void);
#endif

void StartDefaultTask(void *argument);
void MX_FREERTOS_Init(void);

/* USER CODE END 4 */

void MX_FREERTOS_Init(void) {

  /* Create the thread(s) */
  ConsoleDma_Init();
  consoleTaskHandle=osThreadNew(ConsoleDma_Run,NULL,&consoleTask_attributes);
  ScreenHmi_Init();
  screenTaskHandle=osThreadNew(ScreenHmi_Run,NULL,&screenTask_attributes);
  /* creation of defaultTask */
  defaultTaskHandle = osThreadNew(StartDefaultTask, NULL, &defaultTask_attributes);

  /* USER CODE BEGIN RTOS_THREADS */
  /* add threads, ... */
  zdtMotorTaskHandle = osThreadNew(ZDT_Motor_Task, NULL,
                                   &zdtMotorTask_attributes);
  /* 机械臂（达妙转盘）任务。
   * ArmTask_Init() 必须在调度器启动前跑：它内部要 HAL_FDCAN_Init/Start FDCAN1，
   * 放到任务里做会和底盘 FDCAN2 的初始化顺序纠缠，且首帧可能早于总线就绪。 */
  if (ArmTask_Init() != HAL_OK)
  {
    /* 总线没起来不致命（底盘还能跑），但一定要留痕：
     * g_boot_error 会被屏幕/日志看到，控制台也已有 [ARM] ERROR 一行。 */
    g_boot_error = 5U;
  }
  armTaskHandle = osThreadNew(ArmTask_Run, NULL, &armTask_attributes);
  visionTaskHandle = osThreadNew(Vision_TaskRun, NULL, &visionTask_attributes);
  if ((defaultTaskHandle == NULL) || (zdtMotorTaskHandle == NULL) ||
      (armTaskHandle == NULL) || (visionTaskHandle == NULL) || (screenTaskHandle == NULL) || (consoleTaskHandle == NULL))
  {
    g_boot_error = 3U;
    Error_Handler();
  }
  /* USER CODE END RTOS_THREADS */

}

#if (IPS200_TELEMETRY_ENABLE != 0U)
#if (IPS200_TELEMETRY_ENABLE != 0U)
/* 网格路径都是水平/垂直线段，直接画 3 像素粗线。 */
static void Dashboard_DrawPathSegment(uint16_t x0, uint16_t y0,
                                      uint16_t x1, uint16_t y1)
{
  if (y0 == y1)
  {
    uint16_t xmin = (x0 < x1) ? x0 : x1;
    uint16_t xmax = (x0 < x1) ? x1 : x0;
    (void)ips200_fill_rect(xmin, (uint16_t)(y0 - 1U),
                           xmax, (uint16_t)(y0 + 1U),
                           IPS200_COLOR_CYAN);
  }
  else
  {
    uint16_t ymin = (y0 < y1) ? y0 : y1;
    uint16_t ymax = (y0 < y1) ? y1 : y0;
    (void)ips200_fill_rect((uint16_t)(x0 - 1U), ymin,
                           (uint16_t)(x0 + 1U), ymax,
                           IPS200_COLOR_CYAN);
  }
}

/* 根据 GridNav 当前状态重绘：障碍红、路径青、小车黄、终点绿。 */
/* 屏幕左侧 128x128 的场地示意图。
 * 2026-09-12：栅格由 8x8@300mm 改成 48x48@50mm 后，**不能按格画了**
 * （48 格 × 9 px = 432 px 超屏宽），改成按"分区几何"画示意图：
 *   底色 = 可走区（十字通道 + 外环带），深红 = 四块黄色禁区，
 *   蓝 = 两个启停区，青 = 边缘工位，黄 = 小车，绿 = 目标。
 * 坐标换算：规则图 mm（原点左下、y 向上）→ 屏幕像素（y 向下）。 */
#define IPS_ARENA_MM          ((uint16_t)GRID_NAV_FIELD_MM)
#define IPS_ARENA_PX          (128U)
/* 屏幕上最多逐个画多少个运行期障碍（再多就只留一个角落提示点，防止面板刷屏卡顿）。 */
#define IPS_MAP_MAX_OBSTACLE_MARKS  (48U)

static uint16_t Dashboard_MmToPxX(uint16_t mm_x)
{
  return (uint16_t)(IPS_MAP_X + ((uint32_t)mm_x * IPS_ARENA_PX) / IPS_ARENA_MM);
}

static uint16_t Dashboard_MmToPxY(uint16_t mm_y)
{
  /* y 向上 → 屏幕 y 向下，所以这里翻转 */
  return (uint16_t)(IPS_MAP_Y + ((uint32_t)(IPS_ARENA_MM - mm_y) *
                                 IPS_ARENA_PX) / IPS_ARENA_MM);
}

static void Dashboard_FillMm(uint16_t x0, uint16_t y0, uint16_t x1, uint16_t y1,
                             uint16_t color)
{
  (void)ips200_fill_rect(Dashboard_MmToPxX(x0), Dashboard_MmToPxY(y1),
                         Dashboard_MmToPxX(x1), Dashboard_MmToPxY(y0), color);
}

static void Dashboard_DrawMap(void)
{
  uint16_t pose_x = 0U;
  uint16_t pose_y = 0U;
  uint16_t goal_x = 0U;
  uint16_t goal_y = 0U;
  grid_nav_segment_t segments[24];
  uint16_t segment_count = 0U;
  uint8_t has_plan = 0U;
  uint16_t i;

  /* 底色：整个场地先按"可走"铺满（十字 + 外环带合起来覆盖全场地）。 */
  Dashboard_FillMm(0U, 0U, 2400U, 2400U, IPS200_COLOR_GRAY);

  /* 四块 450x450 黄色禁区（不可通行）。 */
  Dashboard_FillMm(550U, 1400U, 1000U, 1850U, IPS200_COLOR_RED);
  Dashboard_FillMm(1400U, 1400U, 1850U, 1850U, IPS200_COLOR_RED);
  Dashboard_FillMm(550U, 550U, 1000U, 1000U, IPS200_COLOR_RED);
  Dashboard_FillMm(1400U, 550U, 1850U, 1000U, IPS200_COLOR_RED);

  /* 两个启停区（300x300）。 */
  Dashboard_FillMm(2100U, 2100U, 2400U, 2400U, IPS200_COLOR_BLUE); /* 启停区2 右上角 */
  Dashboard_FillMm(2100U, 0U, 2400U, 300U, IPS200_COLOR_BLUE);   /* 启停区1 右下角 */

  /* 边缘工位：原料区(上)/粗加工区(下)/暂存区(左)/二维码板(右)。 */
  Dashboard_FillMm(1000U, 2250U, 1400U, 2400U, IPS200_COLOR_CYAN);
  Dashboard_FillMm(1000U, 0U, 1400U, 150U, IPS200_COLOR_CYAN);
  Dashboard_FillMm(0U, 1050U, 150U, 1350U, IPS200_COLOR_CYAN);
  Dashboard_FillMm(2350U, 1100U, 2400U, 1300U, IPS200_COLOR_CYAN);

  /* 运行期障碍（`&obs` / `&free` 设置的）：**按真实格位画**成品红小方块。
   *
   * 2026-09-13 修：原来这里只要"存在至少一个障碍"就在地图**左上角**点一个 5×5 的品红点，
   * 从来不画障碍到底在哪 —— 现场 `&obs 1200 1200` 之后屏幕上除了角落那个点以外什么也看不出来，
   * 会以为"指令没生效"。
   * 现在每个障碍格画 3×3 px（50 mm 格在 128 px 示意图上约 2.7 px，3 px 刚好可见），
   * 并在图例下方标出个数，一眼能看出"设了几个、在哪"。 */
  {
    uint8_t x;
    uint8_t y;
    uint16_t drawn = 0U;
    uint8_t capped = 0U;

    for (y = 0U; y < GRID_NAV_SIZE; ++y)
    {
      for (x = 0U; x < GRID_NAV_SIZE; ++x)
      {
        uint16_t cx;
        uint16_t cy;

        if (GridNav_IsObstacle(x, y) == 0U)
        {
          continue;
        }
        if (drawn >= IPS_MAP_MAX_OBSTACLE_MARKS)
        {
          /* 障碍太多就不逐个画（面板 SPI 逐像素推，画多了卡屏），
             只留左上角一个提示点，个数仍由图例那行给出（带 + 号表示"还有更多"）。 */
          (void)ips200_fill_rect(IPS_MAP_X, IPS_MAP_Y,
                                 (uint16_t)(IPS_MAP_X + 5U),
                                 (uint16_t)(IPS_MAP_Y + 5U),
                                 IPS200_COLOR_MAGENTA);
          capped = 1U;
          y = GRID_NAV_SIZE;
          break;
        }
        cx = Dashboard_MmToPxX(GridNav_CellCenterMmX(x));
        cy = Dashboard_MmToPxY(GridNav_CellCenterMmY(y));
        (void)ips200_fill_rect((uint16_t)(cx - 1U), (uint16_t)(cy - 1U),
                               (uint16_t)(cx + 1U), (uint16_t)(cy + 1U),
                               IPS200_COLOR_MAGENTA);
        drawn++;
      }
    }
    {
      char ob_text[16];
      char ob_line[16];
      int ob_len;

      if (drawn == 0U)
      {
        ob_text[0] = '\0';
      }
      else
      {
        ob_len = snprintf(ob_text, sizeof(ob_text), "OBS %u", (unsigned int)drawn);
        if ((capped != 0U) && (ob_len > 0) && (ob_len < (int)sizeof(ob_text) - 1))
        {
          /* 画到上限了：标成 "OBS 48+"，不要让人以为场上真的只有 48 个。 */
          ob_text[ob_len] = '+';
          ob_text[ob_len + 1] = '\0';
        }
      }

      /* 定宽输出（右侧空格补齐）：个数从 12 变 3、或 `&clear` 清零之后，
         残留的旧字符会被空格连同黑底一起盖掉，不会留在屏上。 */
      (void)snprintf(ob_line, sizeof(ob_line), "%-8s", ob_text);
      (void)ips200_draw_text(6U, (uint16_t)(IPS_MAP_Y + IPS_ARENA_PX + 3U),
                             ob_line, IPS200_COLOR_MAGENTA, IPS200_COLOR_BLACK);
    }
  }

  /* 规划路径：用**段**画（段数很少），不用 2304 点的路径数组（栈放不下）。
     GridNav_GetSegments() 的返回值同时表示"到底规划过没有"，下面画目标点用同一个判据。 */
  has_plan = GridNav_GetSegments(segments, 24U, &segment_count);
  if (has_plan != 0U)
  {
    for (i = 0U; i < segment_count; ++i)
    {
      uint16_t x0 = GridNav_CellCenterMmX(segments[i].from_x);
      uint16_t y0 = GridNav_CellCenterMmY(segments[i].from_y);
      uint16_t x1 = GridNav_CellCenterMmX(segments[i].to_x);
      uint16_t y1 = GridNav_CellCenterMmY(segments[i].to_y);

      Dashboard_DrawPathSegment(Dashboard_MmToPxX(x0), Dashboard_MmToPxY(y0),
                                Dashboard_MmToPxX(x1), Dashboard_MmToPxY(y1));
    }
  }

  GridNav_GetPoseMm(&pose_x, &pose_y);
  (void)ips200_fill_rect((uint16_t)(Dashboard_MmToPxX(pose_x) - 3U),
                         (uint16_t)(Dashboard_MmToPxY(pose_y) - 3U),
                         (uint16_t)(Dashboard_MmToPxX(pose_x) + 3U),
                         (uint16_t)(Dashboard_MmToPxY(pose_y) + 3U),
                         IPS200_COLOR_YELLOW);

  /* 目标点只在**真的规划过**之后才画：GridNav_Init() 会把 last_target 预置成 (2250,2250)，
     无条件画的话开机会凭空出现一个"目标"绿点（现场看着就像屏幕显示错了）。 */
  if (has_plan != 0U)
  {
    GridNav_GetTargetMm(&goal_x, &goal_y);
    (void)ips200_fill_rect((uint16_t)(Dashboard_MmToPxX(goal_x) - 2U),
                           (uint16_t)(Dashboard_MmToPxY(goal_y) - 2U),
                           (uint16_t)(Dashboard_MmToPxX(goal_x) + 2U),
                           (uint16_t)(Dashboard_MmToPxY(goal_y) + 2U),
                           IPS200_COLOR_GREEN);
  }

  /* 外框：⚠ ips200_fill_rect() 是**填充**矩形（不是描边），所以边框必须用 4 条
     1 px 细线来画。这里踩过一次坑：原来写成一次 fill_rect(整片区域, GRAY)，
     等于画完分区后又把整张地图刷成灰色（面板 SPI 逐像素推，所以先闪一下正常地图
     再全灰）。 */
  (void)ips200_fill_rect(IPS_MAP_X, IPS_MAP_Y,
                         (uint16_t)(IPS_MAP_X + IPS_ARENA_PX), IPS_MAP_Y,
                         IPS200_COLOR_WHITE);
  (void)ips200_fill_rect(IPS_MAP_X, (uint16_t)(IPS_MAP_Y + IPS_ARENA_PX),
                         (uint16_t)(IPS_MAP_X + IPS_ARENA_PX),
                         (uint16_t)(IPS_MAP_Y + IPS_ARENA_PX),
                         IPS200_COLOR_WHITE);
  (void)ips200_fill_rect(IPS_MAP_X, IPS_MAP_Y, IPS_MAP_X,
                         (uint16_t)(IPS_MAP_Y + IPS_ARENA_PX),
                         IPS200_COLOR_WHITE);
  (void)ips200_fill_rect((uint16_t)(IPS_MAP_X + IPS_ARENA_PX), IPS_MAP_Y,
                         (uint16_t)(IPS_MAP_X + IPS_ARENA_PX),
                         (uint16_t)(IPS_MAP_Y + IPS_ARENA_PX),
                         IPS200_COLOR_WHITE);
}
#endif

static void ChassisTelemetry_Show(void)
{
  chassis_telemetry_t t;
  int16_t wheel_rpm[CHASSIS_MOTOR_COUNT];
  float kp;
  float ki;
  float kd;
  static uint8_t layout_ready;
  static uint32_t cached_map_revision = 0xFFFFFFFFU;
  static char cached[8][64];
  static char cached_imu_state[24];
  static char cached_zone[28];
  static uint16_t cached_imu_color;
  char lines[8][64];
  const char *imu_state;
  uint16_t imu_color;
  uint32_t imu_ready_tick;
  const uint16_t line_y[8] = { 28U, 46U, 64U, 82U, 100U, 124U, 146U, 164U };
  const uint16_t line_color[8] =
  {
    IPS200_COLOR_YELLOW, IPS200_COLOR_WHITE, IPS200_COLOR_WHITE,
    IPS200_COLOR_GREEN, IPS200_COLOR_GREEN, IPS200_COLOR_MAGENTA,
    IPS200_COLOR_WHITE, IPS200_COLOR_WHITE
  };
  uint32_t i;

  ChassisMotor_GetTelemetry(&t);
  ChassisMotor_GetWheelRpm(wheel_rpm);
  ChassisMotor_GetTurnGains(&kp, &ki, &kd);

  /* ANG / PID 误差都显示到 0.01°：HWT101 的 yaw 分辨率是 1 LSB ≈ 0.0055°，
     所以 0.01° 已经是"看得见的最小变化"（原来只到 0.1° 会把 0.05° 级别的
     残余误差全显示成同一个数）。GYRO 保持 0.1 deg/s —— 它的 1 LSB 就是 0.061 dps。 */
  (void)snprintf(lines[0], sizeof(lines[0]), "ANG %+8.2f deg",
                 (double)t.heading_deg);
  (void)snprintf(lines[1], sizeof(lines[1]), "GYRO %+7.1f deg/s",
                 (double)t.gyro_dps);
  (void)snprintf(lines[2], sizeof(lines[2]), "VX %+4d%% VY %+4d%% W %+4d%%",
                 (int)(t.vx * 100.0f), (int)(t.vy * 100.0f),
                 (int)(t.omega * 100.0f));
  (void)snprintf(lines[3], sizeof(lines[3]), "RPM1 %4d  RPM2 %4d",
                 (int)wheel_rpm[CHASSIS_WHEEL_FL],
                 (int)wheel_rpm[CHASSIS_WHEEL_RL]);
  (void)snprintf(lines[4], sizeof(lines[4]), "RPM3 %4d  RPM4 %4d",
                 (int)wheel_rpm[CHASSIS_WHEEL_FR],
                 (int)wheel_rpm[CHASSIS_WHEEL_RR]);
  (void)snprintf(lines[5], sizeof(lines[5]), "PID e %+7.2f out %+5.2f",
                 (double)t.pid_error_deg, (double)t.pid_output);
  (void)snprintf(lines[6], sizeof(lines[6]), "KP %.4f KI %.4f",
                 (double)kp, (double)ki);
  (void)snprintf(lines[7], sizeof(lines[7]), "KD %.4f  %s",
                 (double)kd, (t.turn_active != 0U) ? "TURN" : "IDLE");

  if (layout_ready == 0U)
  {
    (void)ips200_fill_screen(IPS200_COLOR_BLACK);
    (void)ips200_draw_text(8U, 8U, "NAV MAP", IPS200_COLOR_CYAN,
                           IPS200_COLOR_BLACK);
    (void)ips200_draw_text(150U, 8U, "PID", IPS200_COLOR_CYAN,
                           IPS200_COLOR_BLACK);
    (void)ips200_draw_text(8U, 188U, "Y CAR  G GOAL  M OBS  C PATH",
                           IPS200_COLOR_WHITE, IPS200_COLOR_BLACK);
    memset(cached, 0, sizeof(cached));
    cached_zone[0] = '\0';
    Dashboard_DrawMap();
    cached_map_revision = GridNav_GetRevision();
    layout_ready = 1U;
  }

  /* ---- 地图下方一行：固件"以为"的启停区 + 位姿数字 ----
     这一行是给现场判"屏幕对不对"用的：黄点画在哪里完全由位姿决定，而位姿的来源有两种 ——
       `&startpose N`（人确认过）或**开机默认区**（ZDT_START_ZONE_DEFAULT，只是假定值）。
     所以这里把三种状态分开显示：
       ZONE 2  POSE 2250,2250   绿色 = 已发过 `&startpose`，位姿可信
       ZONE 2? POSE 2250,2250   黄色 = **开机假定值**，人还没确认，发车前请发 &startpose 2
       ZONE ?  POSE 0,0         红色 = 连默认区都没装好（不该出现，出现就是初始化出错）
     现场判据：这一行必须与车实际所在的区一致，否则发 `&leave`/`&goto` 一定出事。
     位置放在地图下沿(156)与图例行(188)之间；右半边 x>=150 是遥测文字，不能压过去。 */
  {
    char zone_line[28];
    uint16_t px = 0U;
    uint16_t py = 0U;
    uint16_t zone_color;

    GridNav_GetPoseMm(&px, &py);
    if (ZDT_Script_IsStartPoseSet() != 0U)
    {
      (void)snprintf(zone_line, sizeof(zone_line), "ZONE %u  POSE %u,%u",
                     (unsigned int)ZDT_Script_GetStartZone(),
                     (unsigned int)px, (unsigned int)py);
      zone_color = IPS200_COLOR_GREEN;
    }
    else if ((px != 0U) || (py != 0U))
    {
      (void)snprintf(zone_line, sizeof(zone_line), "ZONE %u? POSE %u,%u",
                     (unsigned int)ZDT_Script_GetStartZone(),
                     (unsigned int)px, (unsigned int)py);
      zone_color = IPS200_COLOR_YELLOW;
    }
    else
    {
      (void)snprintf(zone_line, sizeof(zone_line), "ZONE ?  POSE 0,0");
      zone_color = IPS200_COLOR_RED;
    }
    if (strcmp(cached_zone, zone_line) != 0)
    {
      (void)ips200_fill_rect(6U, 176U, 148U, 185U, IPS200_COLOR_BLACK);
      (void)ips200_draw_text(6U, 176U, zone_line, zone_color,
                             IPS200_COLOR_BLACK);
      (void)strncpy(cached_zone, zone_line, sizeof(cached_zone) - 1U);
      cached_zone[sizeof(cached_zone) - 1U] = '\0';
    }
  }

  if (cached_map_revision != GridNav_GetRevision())
  {
    Dashboard_DrawMap();
    cached_map_revision = GridNav_GetRevision();
  }

  /* ---- 顶部右侧：零漂（去零飘）标定状态 ----
     还没标定完 → `IMU ZERO CAL 2.4s`（黄色，倒计时提示"保持静止"；
                  计数被打断归零说明车还在动）
     完成后 5 s 内 → `IMU ZERO DONE`（绿色），之后清空
     3 s 的静止窗口见 main.c 的 HWT101_CALIB_MS / HWT101_CALIB_MAX_SPAN_DEG。 */
  {
    char imu_line[24];
    uint32_t imu_elapsed;

    imu_ready_tick = HWT101_GetZeroDriftReadyTick();
    if (HWT101_IsZeroDriftReady() == 0U)
    {
      imu_elapsed = HWT101_GetCalibElapsedMs();
      (void)snprintf(imu_line, sizeof(imu_line), "IMU ZERO CAL %lu.%lus",
                     (unsigned long)(imu_elapsed / 1000U),
                     (unsigned long)((imu_elapsed % 1000U) / 100U));
      imu_state = imu_line;
      imu_color = IPS200_COLOR_YELLOW;
    }
    else if ((imu_ready_tick != 0U) &&
             ((HAL_GetTick() - imu_ready_tick) < 5000U))
    {
      imu_state = "IMU ZERO DONE";
      imu_color = IPS200_COLOR_GREEN;
    }
    else
    {
      imu_state = "";
      imu_color = IPS200_COLOR_BLACK;
    }
  }
  if ((strcmp(cached_imu_state, imu_state) != 0) ||
      (cached_imu_color != imu_color))
  {
    (void)ips200_fill_rect(IPS_IMU_STATE_X, 8U,
                           (uint16_t)(ips200_get_width() - 1U), 18U,
                           IPS200_COLOR_BLACK);
    if (imu_state[0] != '\0')
    {
      (void)ips200_draw_text(IPS_IMU_STATE_X, 8U, imu_state, imu_color,
                             IPS200_COLOR_BLACK);
    }
    (void)strncpy(cached_imu_state, imu_state,
                  sizeof(cached_imu_state) - 1U);
    cached_imu_state[sizeof(cached_imu_state) - 1U] = '\0';
    cached_imu_color = imu_color;
  }

  for (i = 0U; i < 8U; ++i)
  {
    if (strcmp(cached[i], lines[i]) != 0)
    {
      (void)ips200_fill_rect(IPS_TELEMETRY_X, line_y[i],
                             (uint16_t)(ips200_get_width() - 1U),
                             (uint16_t)(line_y[i] + 10U),
                             IPS200_COLOR_BLACK);
      (void)ips200_draw_text(IPS_TELEMETRY_X, line_y[i], lines[i],
                             line_color[i], IPS200_COLOR_BLACK);
      (void)strncpy(cached[i], lines[i], sizeof(cached[i]) - 1U);
      cached[i][sizeof(cached[i]) - 1U] = '\0';
    }
  }
}
#endif

void StartDefaultTask(void *argument)
{
  (void)argument;
  g_boot_stage = 17U;
  for(;;)
  {
#if (IPS200_TELEMETRY_ENABLE != 0U)
    static uint8_t display_ready = 0U;
    if (display_ready == 0U)
    {
      display_ready = (ips200_init(IPS200_ROTATION_LANDSCAPE) == HAL_OK) ? 1U : 0U;
    }
    if (display_ready != 0U)
    {
      ChassisTelemetry_Show();
    }
    osDelay(50U);
#else
    osDelay(1000U);
#endif
  }
}

/************************ (C) COPYRIGHT STMicroelectronics *****END OF FILE****/
